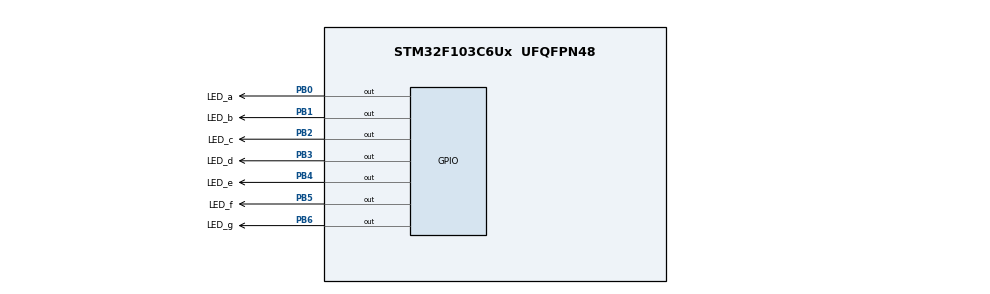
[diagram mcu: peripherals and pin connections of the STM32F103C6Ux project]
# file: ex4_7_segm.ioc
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Mcu.Family=STM32F1
Mcu.Name=STM32F103C6Ux
Mcu.Package=UFQFPN48
NVIC.PriorityGroup=NVIC_PRIORITYGROUP_4
PB0.GPIO_Label=LED_a
PB0.Signal=GPIO_Output
PB1.GPIO_Label=LED_b
PB1.Signal=GPIO_Output
PB2.GPIO_Label=LED_c
PB2.Signal=GPIO_Output
PB3.GPIO_Label=LED_d
PB3.Signal=GPIO_Output
PB4.GPIO_Label=LED_e
PB4.Signal=GPIO_Output
PB5.GPIO_Label=LED_f
PB5.Signal=GPIO_Output
PB6.GPIO_Label=LED_g
PB6.Signal=GPIO_Output
ProjectManager.HeapSize=0x200
ProjectManager.StackSize=0x400
ProjectManager.TargetToolchain=STM32CubeIDE
RCC.APB1Freq_Value=8000000
RCC.APB2Freq_Value=8000000
board=custom

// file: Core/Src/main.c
/* USER CODE BEGIN Header */
/**
  ******************************************************************************
  * @file           : main.c
  * @brief          : Main program body
  ******************************************************************************
  * @attention
  *
  * Copyright (c) 2025 STMicroelectronics.
  * All rights reserved.
  *
  * This software is licensed under terms that can be found in the LICENSE file
  * in the root directory of this software component.
  * If no LICENSE file comes with this software, it is provided AS-IS.
  *
  ******************************************************************************
  */
/* USER CODE END Header */
#include "main.h"

void SystemClock_Config(void);
static void MX_GPIO_Init(void);

int main(void)
{

  /* MCU Configuration--------------------------------------------------------*/

  /* Reset of all peripherals, Initializes the Flash interface and the Systick. */
  HAL_Init();

  /* Configure the system clock */
  SystemClock_Config();

  /* Initialize all configured peripherals */
  MX_GPIO_Init();
  /* USER CODE BEGIN 2 */
  void display7SEG(int num){
	  // common anode => set = off; reset= on
	  switch(num){
	  case 0:
		  HAL_GPIO_WritePin(LED_g_GPIO_Port, LED_g_Pin, SET);

		  HAL_GPIO_WritePin(LED_a_GPIO_Port, LED_a_Pin, RESET);
		  HAL_GPIO_WritePin(LED_b_GPIO_Port, LED_b_Pin, RESET);
		  HAL_GPIO_WritePin(LED_c_GPIO_Port, LED_c_Pin, RESET);
		  HAL_GPIO_WritePin(LED_d_GPIO_Port, LED_d_Pin, RESET);
		  HAL_GPIO_WritePin(LED_e_GPIO_Port, LED_e_Pin, RESET);
		  HAL_GPIO_WritePin(LED_f_GPIO_Port, LED_f_Pin, RESET);
		  break;

	  case 1:
		  HAL_GPIO_WritePin(LED_a_GPIO_Port, LED_a_Pin, SET);
		  HAL_GPIO_WritePin(LED_f_GPIO_Port, LED_f_Pin, SET);
		  HAL_GPIO_WritePin(LED_e_GPIO_Port, LED_e_Pin, SET);
		  HAL_GPIO_WritePin(LED_d_GPIO_Port, LED_d_Pin, SET);

		  HAL_GPIO_WritePin(LED_b_GPIO_Port, LED_b_Pin, RESET);
		  HAL_GPIO_WritePin(LED_c_GPIO_Port, LED_c_Pin, RESET);
		  break;
      case 2: // a b d e g sang
          HAL_GPIO_WritePin(LED_a_GPIO_Port, LED_a_Pin, GPIO_PIN_RESET);
          HAL_GPIO_WritePin(LED_b_GPIO_Port, LED_b_Pin, GPIO_PIN_RESET);
          HAL_GPIO_WritePin(LED_c_GPIO_Port, LED_c_Pin, GPIO_PIN_SET);
          HAL_GPIO_WritePin(LED_d_GPIO_Port, LED_d_Pin, GPIO_PIN_RESET);
          HAL_GPIO_WritePin(LED_e_GPIO_Port, LED_e_Pin, GPIO_PIN_RESET);
          HAL_GPIO_WritePin(LED_f_GPIO_Port, LED_f_Pin, GPIO_PIN_SET);
          HAL_GPIO_WritePin(LED_g_GPIO_Port, LED_g_Pin, GPIO_PIN_RESET);
          break;
      case 3: // a b c d g sang
          HAL_GPIO_WritePin(LED_a_GPIO_Port, LED_a_Pin, GPIO_PIN_RESET);
          HAL_GPIO_WritePin(LED_b_GPIO_Port, LED_b_Pin, GPIO_PIN_RESET);
          HAL_GPIO_WritePin(LED_c_GPIO_Port, LED_c_Pin, GPIO_PIN_RESET);
          HAL_GPIO_WritePin(LED_d_GPIO_Port, LED_d_Pin, GPIO_PIN_RESET);
          HAL_GPIO_WritePin(LED_e_GPIO_Port, LED_e_Pin, GPIO_PIN_SET);
          HAL_GPIO_WritePin(LED_f_GPIO_Port, LED_f_Pin, GPIO_PIN_SET);
          HAL_GPIO_WritePin(LED_g_GPIO_Port, LED_g_Pin, GPIO_PIN_RESET);
          break;

      case 4: // b c f g sang
          HAL_GPIO_WritePin(LED_a_GPIO_Port, LED_a_Pin, GPIO_PIN_SET);
          HAL_GPIO_WritePin(LED_b_GPIO_Port, LED_b_Pin, GPIO_PIN_RESET);
          HAL_GPIO_WritePin(LED_c_GPIO_Port, LED_c_Pin, GPIO_PIN_RESET);
          HAL_GPIO_WritePin(LED_d_GPIO_Port, LED_d_Pin, GPIO_PIN_SET);
          HAL_GPIO_WritePin(LED_e_GPIO_Port, LED_e_Pin, GPIO_PIN_SET);
          HAL_GPIO_WritePin(LED_f_GPIO_Port, LED_f_Pin, GPIO_PIN_RESET);
          HAL_GPIO_WritePin(LED_g_GPIO_Port, LED_g_Pin, GPIO_PIN_RESET);
          break;

      case 5: // a c d f g sang
          HAL_GPIO_WritePin(LED_a_GPIO_Port, LED_a_Pin, GPIO_PIN_RESET);
          HAL_GPIO_WritePin(LED_b_GPIO_Port, LED_b_Pin, GPIO_PIN_SET);
          HAL_GPIO_WritePin(LED_c_GPIO_Port, LED_c_Pin, GPIO_PIN_RESET);
          HAL_GPIO_WritePin(LED_d_GPIO_Port, LED_d_Pin, GPIO_PIN_RESET);
          HAL_GPIO_WritePin(LED_e_GPIO_Port, LED_e_Pin, GPIO_PIN_SET);
          HAL_GPIO_WritePin(LED_f_GPIO_Port, LED_f_Pin, GPIO_PIN_RESET);
          HAL_GPIO_WritePin(LED_g_GPIO_Port, LED_g_Pin, GPIO_PIN_RESET);
          break;

      case 6: // a c d e f g sang
          HAL_GPIO_WritePin(LED_a_GPIO_Port, LED_a_Pin, GPIO_PIN_RESET);
          HAL_GPIO_WritePin(LED_b_GPIO_Port, LED_b_Pin, GPIO_PIN_SET);
          HAL_GPIO_WritePin(LED_c_GPIO_Port, LED_c_Pin, GPIO_PIN_RESET);
          HAL_GPIO_WritePin(LED_d_GPIO_Port, LED_d_Pin, GPIO_PIN_RESET);
          HAL_GPIO_WritePin(LED_e_GPIO_Port, LED_e_Pin, GPIO_PIN_RESET);
          HAL_GPIO_WritePin(LED_f_GPIO_Port, LED_f_Pin, GPIO_PIN_RESET);
          HAL_GPIO_WritePin(LED_g_GPIO_Port, LED_g_Pin, GPIO_PIN_RESET);
          break;

      case 7: // a b c sang
          HAL_GPIO_WritePin(LED_a_GPIO_Port, LED_a_Pin, GPIO_PIN_RESET);
          HAL_GPIO_WritePin(LED_b_GPIO_Port, LED_b_Pin, GPIO_PIN_RESET);
          HAL_GPIO_WritePin(LED_c_GPIO_Port, LED_c_Pin, GPIO_PIN_RESET);
          HAL_GPIO_WritePin(LED_d_GPIO_Port, LED_d_Pin, GPIO_PIN_SET);
          HAL_GPIO_WritePin(LED_e_GPIO_Port, LED_e_Pin, GPIO_PIN_SET);
          HAL_GPIO_WritePin(LED_f_GPIO_Port, LED_f_Pin, GPIO_PIN_SET);
          HAL_GPIO_WritePin(LED_g_GPIO_Port, LED_g_Pin, GPIO_PIN_SET);
          break;

      case 8: // all
          HAL_GPIO_WritePin(LED_a_GPIO_Port, LED_a_Pin, GPIO_PIN_RESET);
          HAL_GPIO_WritePin(LED_b_GPIO_Port, LED_b_Pin, GPIO_PIN_RESET);
          HAL_GPIO_WritePin(LED_c_GPIO_Port, LED_c_Pin, GPIO_PIN_RESET);
          HAL_GPIO_WritePin(LED_d_GPIO_Port, LED_d_Pin, GPIO_PIN_RESET);
          HAL_GPIO_WritePin(LED_e_GPIO_Port, LED_e_Pin, GPIO_PIN_RESET);
          HAL_GPIO_WritePin(LED_f_GPIO_Port, LED_f_Pin, GPIO_PIN_RESET);
          HAL_GPIO_WritePin(LED_g_GPIO_Port, LED_g_Pin, GPIO_PIN_RESET);
          break;

      case 9: // a b c d f g sang
          HAL_GPIO_WritePin(LED_a_GPIO_Port, LED_a_Pin, GPIO_PIN_RESET);
          HAL_GPIO_WritePin(LED_b_GPIO_Port, LED_b_Pin, GPIO_PIN_RESET);
          HAL_GPIO_WritePin(LED_c_GPIO_Port, LED_c_Pin, GPIO_PIN_RESET);
          HAL_GPIO_WritePin(LED_d_GPIO_Port, LED_d_Pin, GPIO_PIN_RESET);
          HAL_GPIO_WritePin(LED_e_GPIO_Port, LED_e_Pin, GPIO_PIN_SET);
          HAL_GPIO_WritePin(LED_f_GPIO_Port, LED_f_Pin, GPIO_PIN_RESET);
          HAL_GPIO_WritePin(LED_g_GPIO_Port, LED_g_Pin, GPIO_PIN_RESET);
          break;
	  }
  }
  /* USER CODE END 2 */
int counter =0;
  /* Infinite loop */
  while (1)
  {
	  if(counter >= 10) counter = 0;
	  display7SEG(counter++);
	  HAL_Delay(1000);
  }
}

void SystemClock_Config(void)
{
  RCC_OscInitTypeDef RCC_OscInitStruct = {0};
  RCC_ClkInitTypeDef RCC_ClkInitStruct = {0};

  /** Initializes the RCC Oscillators according to the specified parameters
  * in the RCC_OscInitTypeDef structure.
  */
  RCC_OscInitStruct.OscillatorType = RCC_OSCILLATORTYPE_HSI;
  RCC_OscInitStruct.HSIState = RCC_HSI_ON;
  RCC_OscInitStruct.HSICalibrationValue = RCC_HSICALIBRATION_DEFAULT;
  RCC_OscInitStruct.PLL.PLLState = RCC_PLL_NONE;
  if (HAL_RCC_OscConfig(&RCC_OscInitStruct) != HAL_OK)
  {
    Error_Handler();
  }

  /** Initializes the CPU, AHB and APB buses clocks
  */
  RCC_ClkInitStruct.ClockType = RCC_CLOCKTYPE_HCLK|RCC_CLOCKTYPE_SYSCLK
                              |RCC_CLOCKTYPE_PCLK1|RCC_CLOCKTYPE_PCLK2;
  RCC_ClkInitStruct.SYSCLKSource = RCC_SYSCLKSOURCE_HSI;
  RCC_ClkInitStruct.AHBCLKDivider = RCC_SYSCLK_DIV1;
  RCC_ClkInitStruct.APB1CLKDivider = RCC_HCLK_DIV1;
  RCC_ClkInitStruct.APB2CLKDivider = RCC_HCLK_DIV1;

  if (HAL_RCC_ClockConfig(&RCC_ClkInitStruct, FLASH_LATENCY_0) != HAL_OK)
  {
    Error_Handler();
  }
}

static void MX_GPIO_Init(void)
{
  GPIO_InitTypeDef GPIO_InitStruct = {0};

  /* GPIO Ports Clock Enable */
  __HAL_RCC_GPIOB_CLK_ENABLE();

  /*Configure GPIO pin Output Level */
  HAL_GPIO_WritePin(GPIOB, LED_a_Pin|LED_b_Pin|LED_c_Pin|LED_d_Pin
                          |LED_e_Pin|LED_f_Pin|LED_g_Pin, GPIO_PIN_RESET);

  /*Configure GPIO pins : LED_a_Pin LED_b_Pin LED_c_Pin LED_d_Pin
                           LED_e_Pin LED_f_Pin LED_g_Pin */
  GPIO_InitStruct.Pin = LED_a_Pin|LED_b_Pin|LED_c_Pin|LED_d_Pin
                          |LED_e_Pin|LED_f_Pin|LED_g_Pin;
  GPIO_InitStruct.Mode = GPIO_MODE_OUTPUT_PP;
  GPIO_InitStruct.Pull = GPIO_NOPULL;
  GPIO_InitStruct.Speed = GPIO_SPEED_FREQ_LOW;
  HAL_GPIO_Init(GPIOB, &GPIO_InitStruct);

}

void Error_Handler(void)
{
  __disable_irq();
  while (1)
  {
  }
}
